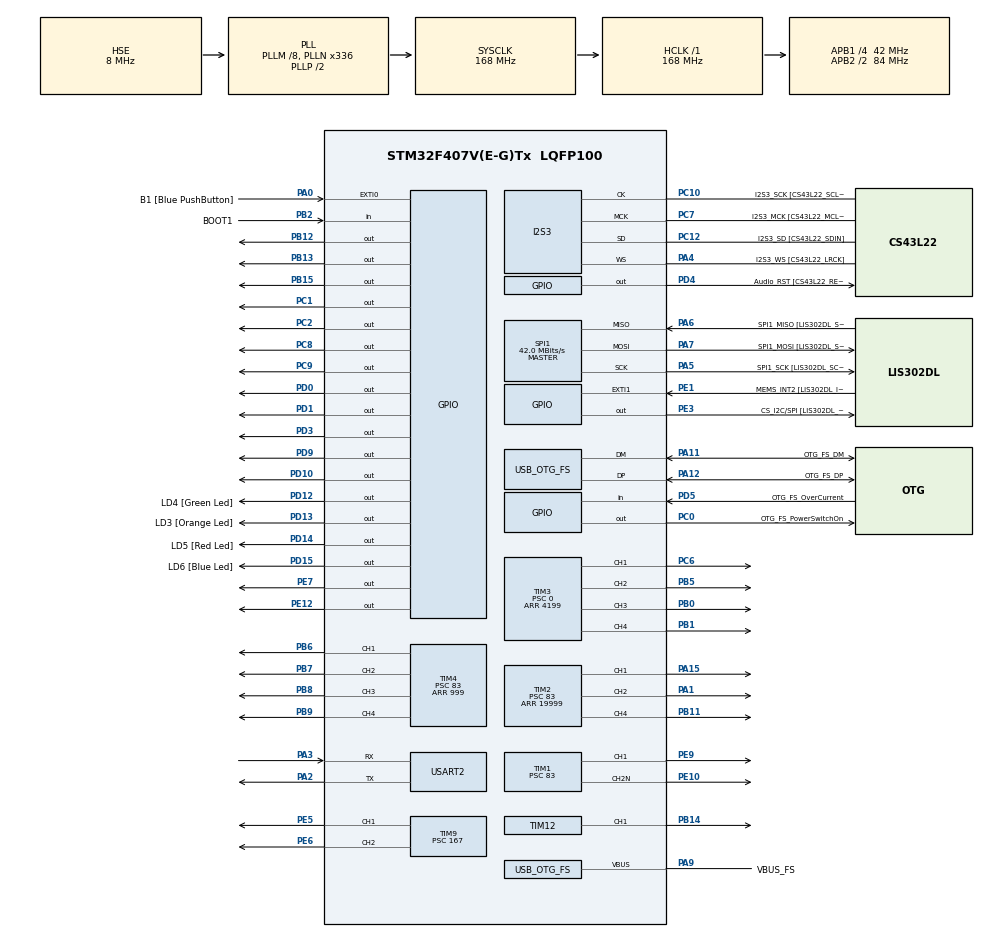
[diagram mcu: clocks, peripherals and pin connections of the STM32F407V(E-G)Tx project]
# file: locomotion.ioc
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I2S3.AudioFreq-Half_Duplex_Master=I2S_AUDIOFREQ_96K
I2S3.ErrorAudioFreq=-2.34 %
I2S3.ErrorAudioFreq-Half_Duplex_Master=0.8 %
I2S3.FullDuplexMode=I2S_FULLDUPLEXMODE_DISABLE
I2S3.Instance=SPI$Index
I2S3.RealAudioFreq=93.75 KHz
I2S3.RealAudioFreq-Half_Duplex_Master=96.774 KHz
I2S3.VirtualMode=I2S_MODE_MASTER
Mcu.Family=STM32F4
Mcu.Name=STM32F407V(E-G)Tx
Mcu.Package=LQFP100
NVIC.OTG_FS_IRQn=true\:0\:0\:false\:false\:true\:true\:true\:true
NVIC.PriorityGroup=NVIC_PRIORITYGROUP_0
NVIC.USART2_IRQn=true\:0\:0\:false\:false\:true\:true\:true\:true
PA0-WKUP.GPIO_Label=B1 [Blue PushButton]
PA0-WKUP.GPIO_ModeDefaultEXTI=GPIO_MODE_EVT_RISING
PA0-WKUP.GPIO_PuPd=GPIO_NOPULL
PA0-WKUP.Signal=GPXTI0
PA1.Signal=S_TIM2_CH2
PA10.GPIO_Label=OTG_FS_ID
PA10.GPIO_Mode=GPIO_MODE_AF_PP
PA10.GPIO_PuPd=GPIO_NOPULL
PA10.GPIO_Speed=GPIO_SPEED_FREQ_LOW
PA10.Signal=USB_OTG_FS_ID
PA11.GPIO_Label=OTG_FS_DM
PA11.GPIO_Mode=GPIO_MODE_AF_PP
PA11.GPIO_PuPd=GPIO_NOPULL
PA11.GPIO_Speed=GPIO_SPEED_FREQ_LOW
PA11.Mode=Host_Only
PA11.Signal=USB_OTG_FS_DM
PA12.GPIO_Label=OTG_FS_DP
PA12.GPIO_Mode=GPIO_MODE_AF_PP
PA12.GPIO_PuPd=GPIO_NOPULL
PA12.GPIO_Speed=GPIO_SPEED_FREQ_LOW
PA12.Mode=Host_Only
PA12.Signal=USB_OTG_FS_DP
PA13.GPIO_Label=SWDIO
PA13.Mode=Serial_Wire
PA13.Signal=SYS_JTMS-SWDIO
PA14.GPIO_Label=SWCLK
PA14.Mode=Serial_Wire
PA14.Signal=SYS_JTCK-SWCLK
PA15.Signal=S_TIM2_CH1_ETR
PA2.Mode=Asynchronous
PA2.Signal=USART2_TX
PA3.Mode=Asynchronous
PA3.Signal=USART2_RX
PA4.GPIO_Label=I2S3_WS [CS43L22_LRCK]
PA4.GPIO_Mode=GPIO_MODE_AF_PP
PA4.GPIO_PuPd=GPIO_NOPULL
PA4.GPIO_Speed=GPIO_SPEED_FREQ_LOW
PA4.Mode=Half_Duplex_Master
PA4.Signal=I2S3_WS
PA5.GPIO_Label=SPI1_SCK [LIS302DL_SCL/SPC]
PA5.GPIO_Mode=GPIO_MODE_AF_PP
PA5.GPIO_PuPd=GPIO_NOPULL
PA5.GPIO_Speed=GPIO_SPEED_FREQ_LOW
PA5.Mode=Full_Duplex_Master
PA5.Signal=SPI1_SCK
PA6.GPIO_Label=SPI1_MISO [LIS302DL_SDO]
PA6.GPIO_Mode=GPIO_MODE_AF_PP
PA6.GPIO_PuPd=GPIO_NOPULL
PA6.GPIO_Speed=GPIO_SPEED_FREQ_LOW
PA6.Mode=Full_Duplex_Master
PA6.Signal=SPI1_MISO
PA7.GPIO_Label=SPI1_MOSI [LIS302DL_SDA/SDI/SDO]
PA7.GPIO_Mode=GPIO_MODE_AF_PP
PA7.GPIO_PuPd=GPIO_NOPULL
PA7.GPIO_Speed=GPIO_SPEED_FREQ_LOW
PA7.Mode=Full_Duplex_Master
PA7.Signal=SPI1_MOSI
PA9.GPIO_Label=VBUS_FS
PA9.GPIO_Mode=GPIO_MODE_INPUT
PA9.GPIO_PuPd=GPIO_NOPULL
PA9.Mode=Activate_VBUS
PA9.Signal=USB_OTG_FS_VBUS
PB0.Signal=S_TIM3_CH3
PB1.Signal=S_TIM3_CH4
PB10.GPIO_Label=CLK_IN [MP45DT02_CLK]
PB10.GPIO_Mode=GPIO_MODE_AF_PP
PB10.GPIO_PuPd=GPIO_NOPULL
PB10.GPIO_Speed=GPIO_SPEED_FREQ_LOW
PB10.Signal=I2S2_CK
PB11.Signal=S_TIM2_CH4
PB12.Signal=GPIO_Output
PB13.Signal=GPIO_Output
PB14.Signal=S_TIM12_CH1
PB15.Signal=GPIO_Output
PB2.GPIO_Label=BOOT1
PB2.GPIO_Mode=GPIO_MODE_INPUT
PB2.GPIO_PuPd=GPIO_NOPULL
PB2.Signal=GPIO_Input
PB3.GPIO_Label=SWO
PB3.Signal=SYS_JTDO-SWO
PB5.Signal=S_TIM3_CH2
PB6.Signal=S_TIM4_CH1
PB7.Signal=S_TIM4_CH2
PB8.Signal=S_TIM4_CH3
PB9.Signal=S_TIM4_CH4
PC0.GPIO_Label=OTG_FS_PowerSwitchOn
PC0.GPIO_PuPd=GPIO_NOPULL
PC0.GPIO_Speed=GPIO_SPEED_FREQ_LOW
PC0.PinState=GPIO_PIN_SET
PC0.Signal=GPIO_Output
PC1.Signal=GPIO_Output
PC10.GPIO_Label=I2S3_SCK [CS43L22_SCLK]
PC10.GPIO_Mode=GPIO_MODE_AF_PP
PC10.GPIO_PuPd=GPIO_NOPULL
PC10.GPIO_Speed=GPIO_SPEED_FREQ_LOW
PC10.Mode=Half_Duplex_Master
PC10.Signal=I2S3_CK
PC12.GPIO_Label=I2S3_SD [CS43L22_SDIN]
PC12.GPIO_Mode=GPIO_MODE_AF_PP
PC12.GPIO_PuPd=GPIO_NOPULL
PC12.GPIO_Speed=GPIO_SPEED_FREQ_LOW
PC12.Mode=Half_Duplex_Master
PC12.Signal=I2S3_SD
PC14-OSC32_IN.GPIO_Label=PC14-OSC32_IN
PC14-OSC32_IN.Mode=LSE-External-Oscillator
PC14-OSC32_IN.Signal=RCC_OSC32_IN
PC15-OSC32_OUT.GPIO_Label=PC15-OSC32_OUT
PC15-OSC32_OUT.Mode=LSE-External-Oscillator
PC15-OSC32_OUT.Signal=RCC_OSC32_OUT
PC2.Signal=GPIO_Output
PC3.GPIO_Label=PDM_OUT [MP45DT02_DOUT]
PC3.GPIO_Mode=GPIO_MODE_AF_PP
PC3.GPIO_PuPd=GPIO_NOPULL
PC3.GPIO_Speed=GPIO_SPEED_FREQ_LOW
PC3.Signal=I2S2_SD
PC6.Signal=S_TIM3_CH1
PC7.GPIO_Label=I2S3_MCK [CS43L22_MCLK]
PC7.GPIO_Mode=GPIO_MODE_AF_PP
PC7.GPIO_PuPd=GPIO_NOPULL
PC7.GPIO_Speed=GPIO_SPEED_FREQ_LOW
PC7.Mode=Master_Clock_Activated
PC7.Signal=I2S3_MCK
PC8.Signal=GPIO_Output
PC9.Signal=GPIO_Output
PD0.Signal=GPIO_Output
PD1.Signal=GPIO_Output
PD10.Signal=GPIO_Output
PD12.GPIO_Label=LD4 [Green Led]
PD12.GPIO_PuPd=GPIO_NOPULL
PD12.GPIO_Speed=GPIO_SPEED_FREQ_LOW
PD12.Signal=GPIO_Output
PD13.GPIO_Label=LD3 [Orange Led]
PD13.GPIO_PuPd=GPIO_NOPULL
PD13.GPIO_Speed=GPIO_SPEED_FREQ_LOW
PD13.Signal=GPIO_Output
PD14.GPIO_Label=LD5 [Red Led]
PD14.GPIO_PuPd=GPIO_NOPULL
PD14.GPIO_Speed=GPIO_SPEED_FREQ_LOW
PD14.Signal=GPIO_Output
PD15.GPIO_Label=LD6 [Blue Led]
PD15.GPIO_PuPd=GPIO_NOPULL
PD15.GPIO_Speed=GPIO_SPEED_FREQ_LOW
PD15.Signal=GPIO_Output
PD3.Signal=GPIO_Output
PD4.GPIO_Label=Audio_RST [CS43L22_RESET]
PD4.GPIO_PuPd=GPIO_NOPULL
PD4.GPIO_Speed=GPIO_SPEED_FREQ_LOW
PD4.Signal=GPIO_Output
PD5.GPIO_Label=OTG_FS_OverCurrent
PD5.GPIO_Mode=GPIO_MODE_INPUT
PD5.GPIO_PuPd=GPIO_NOPULL
PD5.Signal=GPIO_Input
PD9.Signal=GPIO_Output
PE1.GPIO_Label=MEMS_INT2 [LIS302DL_INT2]
PE1.GPIO_ModeDefaultEXTI=GPIO_MODE_EVT_RISING
PE1.GPIO_PuPd=GPIO_NOPULL
PE1.Signal=GPXTI1
PE10.Mode=PWM Generation2 CH2N
PE10.Signal=TIM1_CH2N
PE12.Signal=GPIO_Output
PE3.GPIO_Label=CS_I2C/SPI [LIS302DL_CS_I2C/SPI]
PE3.GPIO_PuPd=GPIO_NOPULL
PE3.GPIO_Speed=GPIO_SPEED_FREQ_LOW
PE3.Signal=GPIO_Output
PE5.Signal=S_TIM9_CH1
PE6.Signal=S_TIM9_CH2
PE7.Signal=GPIO_Output
PE9.Signal=S_TIM1_CH1
PH0-OSC_IN.GPIO_Label=PH0-OSC_IN
PH0-OSC_IN.Mode=HSE-External-Oscillator
PH0-OSC_IN.Signal=RCC_OSC_IN
PH1-OSC_OUT.GPIO_Label=PH1-OSC_OUT
PH1-OSC_OUT.Mode=HSE-External-Oscillator
PH1-OSC_OUT.Signal=RCC_OSC_OUT
ProjectManager.HeapSize=0x200
ProjectManager.StackSize=0x400
ProjectManager.TargetToolchain=STM32CubeIDE
RCC.48MHZClocksFreq_Value=48000000
RCC.AHBFreq_Value=168000000
RCC.APB1CLKDivider=RCC_HCLK_DIV4
RCC.APB1Freq_Value=42000000
RCC.APB1TimFreq_Value=84000000
RCC.APB2CLKDivider=RCC_HCLK_DIV2
RCC.APB2Freq_Value=84000000
RCC.APB2TimFreq_Value=168000000
RCC.CortexFreq_Value=168000000
RCC.HCLKFreq_Value=168000000
RCC.HSE_VALUE=8000000
RCC.HSI_VALUE=16000000
RCC.PLLM=8
RCC.PLLN=336
RCC.PLLQ=7
RCC.SYSCLKFreq_VALUE=168000000
RCC.SYSCLKSource=RCC_SYSCLKSOURCE_PLLCLK
RCC.VCOOutputFreq_Value=336000000
SH.S_TIM12_CH1.0=TIM12_CH1,PWM Generation1 CH1
SH.S_TIM1_CH1.0=TIM1_CH1,PWM Generation1 CH1
SH.S_TIM2_CH1_ETR.0=TIM2_CH1,PWM Generation1 CH1
SH.S_TIM2_CH2.0=TIM2_CH2,PWM Generation2 CH2
SH.S_TIM2_CH4.0=TIM2_CH4,PWM Generation4 CH4
SH.S_TIM3_CH1.0=TIM3_CH1,PWM Generation1 CH1
SH.S_TIM3_CH2.0=TIM3_CH2,PWM Generation2 CH2
SH.S_TIM3_CH3.0=TIM3_CH3,PWM Generation3 CH3
SH.S_TIM3_CH4.0=TIM3_CH4,PWM Generation4 CH4
SH.S_TIM4_CH1.0=TIM4_CH1,PWM Generation1 CH1
SH.S_TIM4_CH2.0=TIM4_CH2,PWM Generation2 CH2
SH.S_TIM4_CH3.0=TIM4_CH3,PWM Generation3 CH3
SH.S_TIM4_CH4.0=TIM4_CH4,PWM Generation4 CH4
SH.S_TIM9_CH1.0=TIM9_CH1,PWM Generation1 CH1
SH.S_TIM9_CH2.0=TIM9_CH2,PWM Generation2 CH2
SPI1.BaudRatePrescaler=SPI_BAUDRATEPRESCALER_2
SPI1.BaudRatePrescaler-Full_Duplex_Master=SPI_BAUDRATEPRESCALER_2
SPI1.CalculateBaudRate=42.0 MBits/s
SPI1.CalculateBaudRate-Full_Duplex_Master=42.0 MBits/s
SPI1.Direction=SPI_DIRECTION_2LINES
SPI1.Mode=SPI_MODE_MASTER
SPI1.Mode-Full_Duplex_Master=SPI_MODE_MASTER
SPI1.VirtualType=VM_MASTER
TIM1.Channel-PWM\ Generation1\ CH1=TIM_CHANNEL_1
TIM1.Channel-PWM\ Generation2\ CH2N=TIM_CHANNEL_2
TIM1.Period=19999
TIM1.Prescaler=83
TIM1.Pulse-PWM\ Generation1\ CH1=1500
TIM12.Channel-PWM\ Generation1\ CH1=TIM_CHANNEL_1
TIM12.Period=19999
TIM12.Prescaler=83
TIM12.Pulse-PWM\ Generation1\ CH1=1500
TIM2.Channel-PWM\ Generation1\ CH1=TIM_CHANNEL_1
TIM2.Channel-PWM\ Generation2\ CH2=TIM_CHANNEL_2
TIM2.Channel-PWM\ Generation4\ CH4=TIM_CHANNEL_4
TIM2.Period=19999
TIM2.Prescaler=83
TIM3.Channel-PWM\ Generation1\ CH1=TIM_CHANNEL_1
TIM3.Channel-PWM\ Generation2\ CH2=TIM_CHANNEL_2
TIM3.Channel-PWM\ Generation3\ CH3=TIM_CHANNEL_3
TIM3.Channel-PWM\ Generation4\ CH4=TIM_CHANNEL_4
TIM3.Period=4199
TIM3.Prescaler=0
TIM4.AutoReloadPreload=TIM_AUTORELOAD_PRELOAD_ENABLE
TIM4.Channel-PWM\ Generation1\ CH1=TIM_CHANNEL_1
TIM4.Channel-PWM\ Generation2\ CH2=TIM_CHANNEL_2
TIM4.Channel-PWM\ Generation3\ CH3=TIM_CHANNEL_3
TIM4.Channel-PWM\ Generation4\ CH4=TIM_CHANNEL_4
TIM4.Period=999
TIM4.Prescaler=83
TIM4.Pulse-PWM\ Generation3\ CH3=500
TIM9.Channel-PWM\ Generation1\ CH1=TIM_CHANNEL_1
TIM9.Channel-PWM\ Generation2\ CH2=TIM_CHANNEL_2
TIM9.Period=19999
TIM9.Prescaler=167
USART2.VirtualMode=VM_ASYNC
USB_HOST.BSP.number=1
USB_HOST.USBH_HandleTypeDef-CDC_FS=hUsbHostFS
USB_HOST.VirtualModeFS=Cdc
USB_HOST0.BSP.STBoard=false
USB_HOST0.BSP.api=Unknown
USB_HOST0.BSP.instance=PC0
USB_HOST0.BSP.ip=GPIO
USB_HOST0.BSP.mode=Output
USB_HOST0.BSP.name=Drive_VBUS_FS
USB_HOST0.BSP.solution=PC0
USB_OTG_FS.VirtualMode=Host_Only
USB_OTG_FS.phy_itface=HCD_PHY_EMBEDDED
VP_USB_HOST_VS_USB_HOST_CDC_FS.Mode=CDC_FS
board=STM32F407G-DISC1

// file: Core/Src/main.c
/* USER CODE BEGIN Header */
/**
  ******************************************************************************
  * @file           : main.c
  * @brief          : Main program body
  ******************************************************************************
  * @attention
  *
  * Copyright (c) 2025 STMicroelectronics.
  * All rights reserved.
  *
  * This software is licensed under terms that can be found in the LICENSE file
  * in the root directory of this software component.
  * If no LICENSE file comes with this software, it is provided AS-IS.
  *
  ******************************************************************************
  */
/* USER CODE END Header */
#include "main.h"
#include "usb_host.h"

/* USER CODE BEGIN Includes */
#include <stdio.h>
#include <string.h>
#include <stdint.h>
#include <stdlib.h>
#include <stdbool.h>
#include <math.h>
#include "bot.h"
//#include "user.h"
//#include "locomotion.h"

/* USER CODE END Includes */

I2S_HandleTypeDef hi2s3;

SPI_HandleTypeDef hspi1;

TIM_HandleTypeDef htim1;
TIM_HandleTypeDef htim2;
TIM_HandleTypeDef htim3;
TIM_HandleTypeDef htim4;
TIM_HandleTypeDef htim9;
TIM_HandleTypeDef htim12;

UART_HandleTypeDef huart2;

/* USER CODE BEGIN PV */

//const uint8_t m1_dir_pin;
//const uint8_t m2_dir_pin;
//const uint8_t m3_dir_pin;
//const uint8_t m4_dir_pin;

/* USER CODE END PV */

void SystemClock_Config(void);
static void MX_GPIO_Init(void);
static void MX_I2S3_Init(void);
static void MX_SPI1_Init(void);
static void MX_TIM2_Init(void);
static void MX_USART2_UART_Init(void);
static void MX_TIM3_Init(void);
static void MX_TIM4_Init(void);
static void MX_TIM9_Init(void);
static void MX_TIM12_Init(void);
static void MX_TIM1_Init(void);
void MX_USB_HOST_Process(void);

int main(void)
{

  /* MCU Configuration--------------------------------------------------------*/

  /* Reset of all peripherals, Initializes the Flash interface and the Systick. */
  HAL_Init();

  /* Configure the system clock */
  SystemClock_Config();

  /* Initialize all configured peripherals */
  MX_GPIO_Init();
  MX_I2S3_Init();
  MX_SPI1_Init();
  MX_USB_HOST_Init();
  MX_TIM2_Init();
  MX_USART2_UART_Init();
  MX_TIM3_Init();
  MX_TIM4_Init();
  MX_TIM9_Init();
  MX_TIM12_Init();
  MX_TIM1_Init();
  /* USER CODE BEGIN 2 */
  HAL_TIM_PWM_Start(&htim3, TIM_CHANNEL_1);
  HAL_TIM_PWM_Start(&htim3, TIM_CHANNEL_2);
  HAL_TIM_PWM_Start(&htim3, TIM_CHANNEL_3);
  HAL_TIM_PWM_Start(&htim3, TIM_CHANNEL_4);

  HAL_TIM_PWM_Start(&htim2, TIM_CHANNEL_1);
  HAL_TIM_PWM_Start(&htim2, TIM_CHANNEL_2);
  HAL_TIM_PWM_Start(&htim2, TIM_CHANNEL_4);

  // Set SPARK to neutral BEFORE starting timer
//  __HAL_TIM_SET_COMPARE(&htim1, TIM_CHANNEL_1, 1500);  // SPARK neutral
//  __HAL_TIM_SET_COMPARE(&htim1, TIM_CHANNEL_2, 0);     // OFFSET off

  HAL_TIM_PWM_Start(&htim1, TIM_CHANNEL_1);
  HAL_TIMEx_PWMN_Start(&htim1, TIM_CHANNEL_2);
  __HAL_TIM_MOE_ENABLE(&htim1);

  HAL_TIM_PWM_Start(&htim9, TIM_CHANNEL_1);
  HAL_TIM_PWM_Start(&htim9, TIM_CHANNEL_2);
  HAL_TIM_PWM_Start(&htim12, TIM_CHANNEL_1);

  uart_start_receive(&huart2);
  /* USER CODE END 2 */

  /* Infinite loop */
  /* USER CODE BEGIN WHILE */
  Bldc_writePulse(&SPARK_PULSE_TIM_N, SPARK_PULSE_PIN, 1500);
  HAL_Delay(500);
  bot_setup();
//  Bldc_writePulse(&htim2, TIM_CHANNEL_2, 1500);
//  Bldc_writePulse(&htim2, TIM_CHANNEL_4, 1500);
//  Servo_WriteAngle(&htim2, TIM_CHANNEL_2, INITIAL_ANGLE);
  while (1)
  {
//	  recieve_uart(&huart2);
	  odu();
//	  track_run();
    /* USER CODE END WHILE */
    MX_USB_HOST_Process();

  }
}

void SystemClock_Config(void)
{
  RCC_OscInitTypeDef RCC_OscInitStruct = {0};
  RCC_ClkInitTypeDef RCC_ClkInitStruct = {0};

  /** Configure the main internal regulator output voltage
  */
  __HAL_RCC_PWR_CLK_ENABLE();
  __HAL_PWR_VOLTAGESCALING_CONFIG(PWR_REGULATOR_VOLTAGE_SCALE1);

  /** Initializes the RCC Oscillators according to the specified parameters
  * in the RCC_OscInitTypeDef structure.
  */
  RCC_OscInitStruct.OscillatorType = RCC_OSCILLATORTYPE_HSE;
  RCC_OscInitStruct.HSEState = RCC_HSE_ON;
  RCC_OscInitStruct.PLL.PLLState = RCC_PLL_ON;
  RCC_OscInitStruct.PLL.PLLSource = RCC_PLLSOURCE_HSE;
  RCC_OscInitStruct.PLL.PLLM = 8;
  RCC_OscInitStruct.PLL.PLLN = 336;
  RCC_OscInitStruct.PLL.PLLP = RCC_PLLP_DIV2;
  RCC_OscInitStruct.PLL.PLLQ = 7;
  if (HAL_RCC_OscConfig(&RCC_OscInitStruct) != HAL_OK)
  {
    Error_Handler();
  }

  /** Initializes the CPU, AHB and APB buses clocks
  */
  RCC_ClkInitStruct.ClockType = RCC_CLOCKTYPE_HCLK|RCC_CLOCKTYPE_SYSCLK
                              |RCC_CLOCKTYPE_PCLK1|RCC_CLOCKTYPE_PCLK2;
  RCC_ClkInitStruct.SYSCLKSource = RCC_SYSCLKSOURCE_PLLCLK;
  RCC_ClkInitStruct.AHBCLKDivider = RCC_SYSCLK_DIV1;
  RCC_ClkInitStruct.APB1CLKDivider = RCC_HCLK_DIV4;
  RCC_ClkInitStruct.APB2CLKDivider = RCC_HCLK_DIV2;

  if (HAL_RCC_ClockConfig(&RCC_ClkInitStruct, FLASH_LATENCY_5) != HAL_OK)
  {
    Error_Handler();
  }
}

static void MX_I2S3_Init(void)
{

  hi2s3.Instance = SPI3;
  hi2s3.Init.Mode = I2S_MODE_MASTER_TX;
  hi2s3.Init.Standard = I2S_STANDARD_PHILIPS;
  hi2s3.Init.DataFormat = I2S_DATAFORMAT_16B;
  hi2s3.Init.MCLKOutput = I2S_MCLKOUTPUT_ENABLE;
  hi2s3.Init.AudioFreq = I2S_AUDIOFREQ_96K;
  hi2s3.Init.CPOL = I2S_CPOL_LOW;
  hi2s3.Init.ClockSource = I2S_CLOCK_PLL;
  hi2s3.Init.FullDuplexMode = I2S_FULLDUPLEXMODE_DISABLE;
  if (HAL_I2S_Init(&hi2s3) != HAL_OK)
  {
    Error_Handler();
  }

}

static void MX_SPI1_Init(void)
{

  /* SPI1 parameter configuration*/
  hspi1.Instance = SPI1;
  hspi1.Init.Mode = SPI_MODE_MASTER;
  hspi1.Init.Direction = SPI_DIRECTION_2LINES;
  hspi1.Init.DataSize = SPI_DATASIZE_8BIT;
  hspi1.Init.CLKPolarity = SPI_POLARITY_LOW;
  hspi1.Init.CLKPhase = SPI_PHASE_1EDGE;
  hspi1.Init.NSS = SPI_NSS_SOFT;
  hspi1.Init.BaudRatePrescaler = SPI_BAUDRATEPRESCALER_2;
  hspi1.Init.FirstBit = SPI_FIRSTBIT_MSB;
  hspi1.Init.TIMode = SPI_TIMODE_DISABLE;
  hspi1.Init.CRCCalculation = SPI_CRCCALCULATION_DISABLE;
  hspi1.Init.CRCPolynomial = 10;
  if (HAL_SPI_Init(&hspi1) != HAL_OK)
  {
    Error_Handler();
  }

}

static void MX_TIM1_Init(void)
{

  TIM_MasterConfigTypeDef sMasterConfig = {0};
  TIM_OC_InitTypeDef sConfigOC = {0};
  TIM_BreakDeadTimeConfigTypeDef sBreakDeadTimeConfig = {0};

  htim1.Instance = TIM1;
  htim1.Init.Prescaler = 83;
  htim1.Init.CounterMode = TIM_COUNTERMODE_UP;
  htim1.Init.Period = 19999;
  htim1.Init.ClockDivision = TIM_CLOCKDIVISION_DIV1;
  htim1.Init.RepetitionCounter = 0;
  htim1.Init.AutoReloadPreload = TIM_AUTORELOAD_PRELOAD_DISABLE;
  if (HAL_TIM_PWM_Init(&htim1) != HAL_OK)
  {
    Error_Handler();
  }
  sMasterConfig.MasterOutputTrigger = TIM_TRGO_RESET;
  sMasterConfig.MasterSlaveMode = TIM_MASTERSLAVEMODE_DISABLE;
  if (HAL_TIMEx_MasterConfigSynchronization(&htim1, &sMasterConfig) != HAL_OK)
  {
    Error_Handler();
  }
  sConfigOC.OCMode = TIM_OCMODE_PWM1;
  sConfigOC.Pulse = 1500;
  sConfigOC.OCPolarity = TIM_OCPOLARITY_HIGH;
  sConfigOC.OCNPolarity = TIM_OCNPOLARITY_HIGH;
  sConfigOC.OCFastMode = TIM_OCFAST_DISABLE;
  sConfigOC.OCIdleState = TIM_OCIDLESTATE_RESET;
  sConfigOC.OCNIdleState = TIM_OCNIDLESTATE_RESET;
  if (HAL_TIM_PWM_ConfigChannel(&htim1, &sConfigOC, TIM_CHANNEL_1) != HAL_OK)
  {
    Error_Handler();
  }
  sConfigOC.Pulse = 0;
  if (HAL_TIM_PWM_ConfigChannel(&htim1, &sConfigOC, TIM_CHANNEL_2) != HAL_OK)
  {
    Error_Handler();
  }
  sBreakDeadTimeConfig.OffStateRunMode = TIM_OSSR_DISABLE;
  sBreakDeadTimeConfig.OffStateIDLEMode = TIM_OSSI_DISABLE;
  sBreakDeadTimeConfig.LockLevel = TIM_LOCKLEVEL_OFF;
  sBreakDeadTimeConfig.DeadTime = 0;
  sBreakDeadTimeConfig.BreakState = TIM_BREAK_DISABLE;
  sBreakDeadTimeConfig.BreakPolarity = TIM_BREAKPOLARITY_HIGH;
  sBreakDeadTimeConfig.AutomaticOutput = TIM_AUTOMATICOUTPUT_DISABLE;
  if (HAL_TIMEx_ConfigBreakDeadTime(&htim1, &sBreakDeadTimeConfig) != HAL_OK)
  {
    Error_Handler();
  }
  HAL_TIM_MspPostInit(&htim1);

}

static void MX_TIM2_Init(void)
{

  TIM_MasterConfigTypeDef sMasterConfig = {0};
  TIM_OC_InitTypeDef sConfigOC = {0};

  htim2.Instance = TIM2;
  htim2.Init.Prescaler = 83;
  htim2.Init.CounterMode = TIM_COUNTERMODE_UP;
  htim2.Init.Period = 19999;
  htim2.Init.ClockDivision = TIM_CLOCKDIVISION_DIV1;
  htim2.Init.AutoReloadPreload = TIM_AUTORELOAD_PRELOAD_DISABLE;
  if (HAL_TIM_PWM_Init(&htim2) != HAL_OK)
  {
    Error_Handler();
  }
  sMasterConfig.MasterOutputTrigger = TIM_TRGO_RESET;
  sMasterConfig.MasterSlaveMode = TIM_MASTERSLAVEMODE_DISABLE;
  if (HAL_TIMEx_MasterConfigSynchronization(&htim2, &sMasterConfig) != HAL_OK)
  {
    Error_Handler();
  }
  sConfigOC.OCMode = TIM_OCMODE_PWM1;
  sConfigOC.Pulse = 0;
  sConfigOC.OCPolarity = TIM_OCPOLARITY_HIGH;
  sConfigOC.OCFastMode = TIM_OCFAST_DISABLE;
  if (HAL_TIM_PWM_ConfigChannel(&htim2, &sConfigOC, TIM_CHANNEL_1) != HAL_OK)
  {
    Error_Handler();
  }
  if (HAL_TIM_PWM_ConfigChannel(&htim2, &sConfigOC, TIM_CHANNEL_2) != HAL_OK)
  {
    Error_Handler();
  }
  if (HAL_TIM_PWM_ConfigChannel(&htim2, &sConfigOC, TIM_CHANNEL_4) != HAL_OK)
  {
    Error_Handler();
  }
  HAL_TIM_MspPostInit(&htim2);

}

static void MX_TIM3_Init(void)
{

  TIM_MasterConfigTypeDef sMasterConfig = {0};
  TIM_OC_InitTypeDef sConfigOC = {0};

  htim3.Instance = TIM3;
  htim3.Init.Prescaler = 0;
  htim3.Init.CounterMode = TIM_COUNTERMODE_UP;
  htim3.Init.Period = 4199;
  htim3.Init.ClockDivision = TIM_CLOCKDIVISION_DIV1;
  htim3.Init.AutoReloadPreload = TIM_AUTORELOAD_PRELOAD_DISABLE;
  if (HAL_TIM_PWM_Init(&htim3) != HAL_OK)
  {
    Error_Handler();
  }
  sMasterConfig.MasterOutputTrigger = TIM_TRGO_RESET;
  sMasterConfig.MasterSlaveMode = TIM_MASTERSLAVEMODE_DISABLE;
  if (HAL_TIMEx_MasterConfigSynchronization(&htim3, &sMasterConfig) != HAL_OK)
  {
    Error_Handler();
  }
  sConfigOC.OCMode = TIM_OCMODE_PWM1;
  sConfigOC.Pulse = 0;
  sConfigOC.OCPolarity = TIM_OCPOLARITY_HIGH;
  sConfigOC.OCFastMode = TIM_OCFAST_DISABLE;
  if (HAL_TIM_PWM_ConfigChannel(&htim3, &sConfigOC, TIM_CHANNEL_1) != HAL_OK)
  {
    Error_Handler();
  }
  if (HAL_TIM_PWM_ConfigChannel(&htim3, &sConfigOC, TIM_CHANNEL_2) != HAL_OK)
  {
    Error_Handler();
  }
  if (HAL_TIM_PWM_ConfigChannel(&htim3, &sConfigOC, TIM_CHANNEL_3) != HAL_OK)
  {
    Error_Handler();
  }
  if (HAL_TIM_PWM_ConfigChannel(&htim3, &sConfigOC, TIM_CHANNEL_4) != HAL_OK)
  {
    Error_Handler();
  }
  HAL_TIM_MspPostInit(&htim3);

}

static void MX_TIM4_Init(void)
{

  TIM_MasterConfigTypeDef sMasterConfig = {0};
  TIM_OC_InitTypeDef sConfigOC = {0};

  htim4.Instance = TIM4;
  htim4.Init.Prescaler = 83;
  htim4.Init.CounterMode = TIM_COUNTERMODE_UP;
  htim4.Init.Period = 999;
  htim4.Init.ClockDivision = TIM_CLOCKDIVISION_DIV1;
  htim4.Init.AutoReloadPreload = TIM_AUTORELOAD_PRELOAD_ENABLE;
  if (HAL_TIM_PWM_Init(&htim4) != HAL_OK)
  {
    Error_Handler();
  }
  sMasterConfig.MasterOutputTrigger = TIM_TRGO_RESET;
  sMasterConfig.MasterSlaveMode = TIM_MASTERSLAVEMODE_DISABLE;
  if (HAL_TIMEx_MasterConfigSynchronization(&htim4, &sMasterConfig) != HAL_OK)
  {
    Error_Handler();
  }
  sConfigOC.OCMode = TIM_OCMODE_PWM1;
  sConfigOC.Pulse = 0;
  sConfigOC.OCPolarity = TIM_OCPOLARITY_HIGH;
  sConfigOC.OCFastMode = TIM_OCFAST_DISABLE;
  if (HAL_TIM_PWM_ConfigChannel(&htim4, &sConfigOC, TIM_CHANNEL_1) != HAL_OK)
  {
    Error_Handler();
  }
  if (HAL_TIM_PWM_ConfigChannel(&htim4, &sConfigOC, TIM_CHANNEL_2) != HAL_OK)
  {
    Error_Handler();
  }
  sConfigOC.Pulse = 500;
  if (HAL_TIM_PWM_ConfigChannel(&htim4, &sConfigOC, TIM_CHANNEL_3) != HAL_OK)
  {
    Error_Handler();
  }
  sConfigOC.Pulse = 0;
  if (HAL_TIM_PWM_ConfigChannel(&htim4, &sConfigOC, TIM_CHANNEL_4) != HAL_OK)
  {
    Error_Handler();
  }
  HAL_TIM_MspPostInit(&htim4);

}

static void MX_TIM9_Init(void)
{

  TIM_OC_InitTypeDef sConfigOC = {0};

  htim9.Instance = TIM9;
  htim9.Init.Prescaler = 167;
  htim9.Init.CounterMode = TIM_COUNTERMODE_UP;
  htim9.Init.Period = 19999;
  htim9.Init.ClockDivision = TIM_CLOCKDIVISION_DIV1;
  htim9.Init.AutoReloadPreload = TIM_AUTORELOAD_PRELOAD_DISABLE;
  if (HAL_TIM_PWM_Init(&htim9) != HAL_OK)
  {
    Error_Handler();
  }
  sConfigOC.OCMode = TIM_OCMODE_PWM1;
  sConfigOC.Pulse = 0;
  sConfigOC.OCPolarity = TIM_OCPOLARITY_HIGH;
  sConfigOC.OCFastMode = TIM_OCFAST_DISABLE;
  if (HAL_TIM_PWM_ConfigChannel(&htim9, &sConfigOC, TIM_CHANNEL_1) != HAL_OK)
  {
    Error_Handler();
  }
  if (HAL_TIM_PWM_ConfigChannel(&htim9, &sConfigOC, TIM_CHANNEL_2) != HAL_OK)
  {
    Error_Handler();
  }
  HAL_TIM_MspPostInit(&htim9);

}

static void MX_TIM12_Init(void)
{

  TIM_OC_InitTypeDef sConfigOC = {0};

  htim12.Instance = TIM12;
  htim12.Init.Prescaler = 83;
  htim12.Init.CounterMode = TIM_COUNTERMODE_UP;
  htim12.Init.Period = 19999;
  htim12.Init.ClockDivision = TIM_CLOCKDIVISION_DIV1;
  htim12.Init.AutoReloadPreload = TIM_AUTORELOAD_PRELOAD_DISABLE;
  if (HAL_TIM_PWM_Init(&htim12) != HAL_OK)
  {
    Error_Handler();
  }
  sConfigOC.OCMode = TIM_OCMODE_PWM1;
  sConfigOC.Pulse = 1500;
  sConfigOC.OCPolarity = TIM_OCPOLARITY_HIGH;
  sConfigOC.OCFastMode = TIM_OCFAST_DISABLE;
  if (HAL_TIM_PWM_ConfigChannel(&htim12, &sConfigOC, TIM_CHANNEL_1) != HAL_OK)
  {
    Error_Handler();
  }
  HAL_TIM_MspPostInit(&htim12);

}

static void MX_USART2_UART_Init(void)
{

  huart2.Instance = USART2;
  huart2.Init.BaudRate = 115200;
  huart2.Init.WordLength = UART_WORDLENGTH_8B;
  huart2.Init.StopBits = UART_STOPBITS_1;
  huart2.Init.Parity = UART_PARITY_NONE;
  huart2.Init.Mode = UART_MODE_TX_RX;
  huart2.Init.HwFlowCtl = UART_HWCONTROL_NONE;
  huart2.Init.OverSampling = UART_OVERSAMPLING_16;
  if (HAL_UART_Init(&huart2) != HAL_OK)
  {
    Error_Handler();
  }

}

static void MX_GPIO_Init(void)
{
  GPIO_InitTypeDef GPIO_InitStruct = {0};

  /* GPIO Ports Clock Enable */
  __HAL_RCC_GPIOE_CLK_ENABLE();
  __HAL_RCC_GPIOC_CLK_ENABLE();
  __HAL_RCC_GPIOH_CLK_ENABLE();
  __HAL_RCC_GPIOA_CLK_ENABLE();
  __HAL_RCC_GPIOB_CLK_ENABLE();
  __HAL_RCC_GPIOD_CLK_ENABLE();

  /*Configure GPIO pin Output Level */
  HAL_GPIO_WritePin(GPIOE, CS_I2C_SPI_Pin|GPIO_PIN_7|GPIO_PIN_12, GPIO_PIN_RESET);

  /*Configure GPIO pin Output Level */
  HAL_GPIO_WritePin(OTG_FS_PowerSwitchOn_GPIO_Port, OTG_FS_PowerSwitchOn_Pin, GPIO_PIN_SET);

  /*Configure GPIO pin Output Level */
  HAL_GPIO_WritePin(GPIOC, GPIO_PIN_1|GPIO_PIN_2|GPIO_PIN_8|GPIO_PIN_9, GPIO_PIN_RESET);

  /*Configure GPIO pin Output Level */
  HAL_GPIO_WritePin(GPIOB, GPIO_PIN_12|GPIO_PIN_13|GPIO_PIN_15, GPIO_PIN_RESET);

  /*Configure GPIO pin Output Level */
  HAL_GPIO_WritePin(GPIOD, GPIO_PIN_9|GPIO_PIN_10|LD4_Pin|LD3_Pin
                          |LD5_Pin|LD6_Pin|GPIO_PIN_0|GPIO_PIN_1
                          |GPIO_PIN_3|Audio_RST_Pin, GPIO_PIN_RESET);

  /*Configure GPIO pins : CS_I2C_SPI_Pin PE7 PE12 */
  GPIO_InitStruct.Pin = CS_I2C_SPI_Pin|GPIO_PIN_7|GPIO_PIN_12;
  GPIO_InitStruct.Mode = GPIO_MODE_OUTPUT_PP;
  GPIO_InitStruct.Pull = GPIO_NOPULL;
  GPIO_InitStruct.Speed = GPIO_SPEED_FREQ_LOW;
  HAL_GPIO_Init(GPIOE, &GPIO_InitStruct);

  /*Configure GPIO pins : OTG_FS_PowerSwitchOn_Pin PC1 PC2 PC8
                           PC9 */
  GPIO_InitStruct.Pin = OTG_FS_PowerSwitchOn_Pin|GPIO_PIN_1|GPIO_PIN_2|GPIO_PIN_8
                          |GPIO_PIN_9;
  GPIO_InitStruct.Mode = GPIO_MODE_OUTPUT_PP;
  GPIO_InitStruct.Pull = GPIO_NOPULL;
  GPIO_InitStruct.Speed = GPIO_SPEED_FREQ_LOW;
  HAL_GPIO_Init(GPIOC, &GPIO_InitStruct);

  /*Configure GPIO pin : PDM_OUT_Pin */
  GPIO_InitStruct.Pin = PDM_OUT_Pin;
  GPIO_InitStruct.Mode = GPIO_MODE_AF_PP;
  GPIO_InitStruct.Pull = GPIO_NOPULL;
  GPIO_InitStruct.Speed = GPIO_SPEED_FREQ_LOW;
  GPIO_InitStruct.Alternate = GPIO_AF5_SPI2;
  HAL_GPIO_Init(PDM_OUT_GPIO_Port, &GPIO_InitStruct);

  /*Configure GPIO pin : B1_Pin */
  GPIO_InitStruct.Pin = B1_Pin;
  GPIO_InitStruct.Mode = GPIO_MODE_EVT_RISING;
  GPIO_InitStruct.Pull = GPIO_NOPULL;
  HAL_GPIO_Init(B1_GPIO_Port, &GPIO_InitStruct);

  /*Configure GPIO pin : BOOT1_Pin */
  GPIO_InitStruct.Pin = BOOT1_Pin;
  GPIO_InitStruct.Mode = GPIO_MODE_INPUT;
  GPIO_InitStruct.Pull = GPIO_NOPULL;
  HAL_GPIO_Init(BOOT1_GPIO_Port, &GPIO_InitStruct);

  /*Configure GPIO pin : CLK_IN_Pin */
  GPIO_InitStruct.Pin = CLK_IN_Pin;
  GPIO_InitStruct.Mode = GPIO_MODE_AF_PP;
  GPIO_InitStruct.Pull = GPIO_NOPULL;
  GPIO_InitStruct.Speed = GPIO_SPEED_FREQ_LOW;
  GPIO_InitStruct.Alternate = GPIO_AF5_SPI2;
  HAL_GPIO_Init(CLK_IN_GPIO_Port, &GPIO_InitStruct);

  /*Configure GPIO pins : PB12 PB13 PB15 */
  GPIO_InitStruct.Pin = GPIO_PIN_12|GPIO_PIN_13|GPIO_PIN_15;
  GPIO_InitStruct.Mode = GPIO_MODE_OUTPUT_PP;
  GPIO_InitStruct.Pull = GPIO_NOPULL;
  GPIO_InitStruct.Speed = GPIO_SPEED_FREQ_LOW;
  HAL_GPIO_Init(GPIOB, &GPIO_InitStruct);

  /*Configure GPIO pins : PD9 PD10 LD4_Pin LD3_Pin
                           LD5_Pin LD6_Pin PD0 PD1
                           PD3 Audio_RST_Pin */
  GPIO_InitStruct.Pin = GPIO_PIN_9|GPIO_PIN_10|LD4_Pin|LD3_Pin
                          |LD5_Pin|LD6_Pin|GPIO_PIN_0|GPIO_PIN_1
                          |GPIO_PIN_3|Audio_RST_Pin;
  GPIO_InitStruct.Mode = GPIO_MODE_OUTPUT_PP;
  GPIO_InitStruct.Pull = GPIO_NOPULL;
  GPIO_InitStruct.Speed = GPIO_SPEED_FREQ_LOW;
  HAL_GPIO_Init(GPIOD, &GPIO_InitStruct);

  /*Configure GPIO pin : OTG_FS_OverCurrent_Pin */
  GPIO_InitStruct.Pin = OTG_FS_OverCurrent_Pin;
  GPIO_InitStruct.Mode = GPIO_MODE_INPUT;
  GPIO_InitStruct.Pull = GPIO_NOPULL;
  HAL_GPIO_Init(OTG_FS_OverCurrent_GPIO_Port, &GPIO_InitStruct);

  /*Configure GPIO pin : MEMS_INT2_Pin */
  GPIO_InitStruct.Pin = MEMS_INT2_Pin;
  GPIO_InitStruct.Mode = GPIO_MODE_EVT_RISING;
  GPIO_InitStruct.Pull = GPIO_NOPULL;
  HAL_GPIO_Init(MEMS_INT2_GPIO_Port, &GPIO_InitStruct);

}

void Error_Handler(void)
{
  __disable_irq();
  while (1)
  {
  }
}
